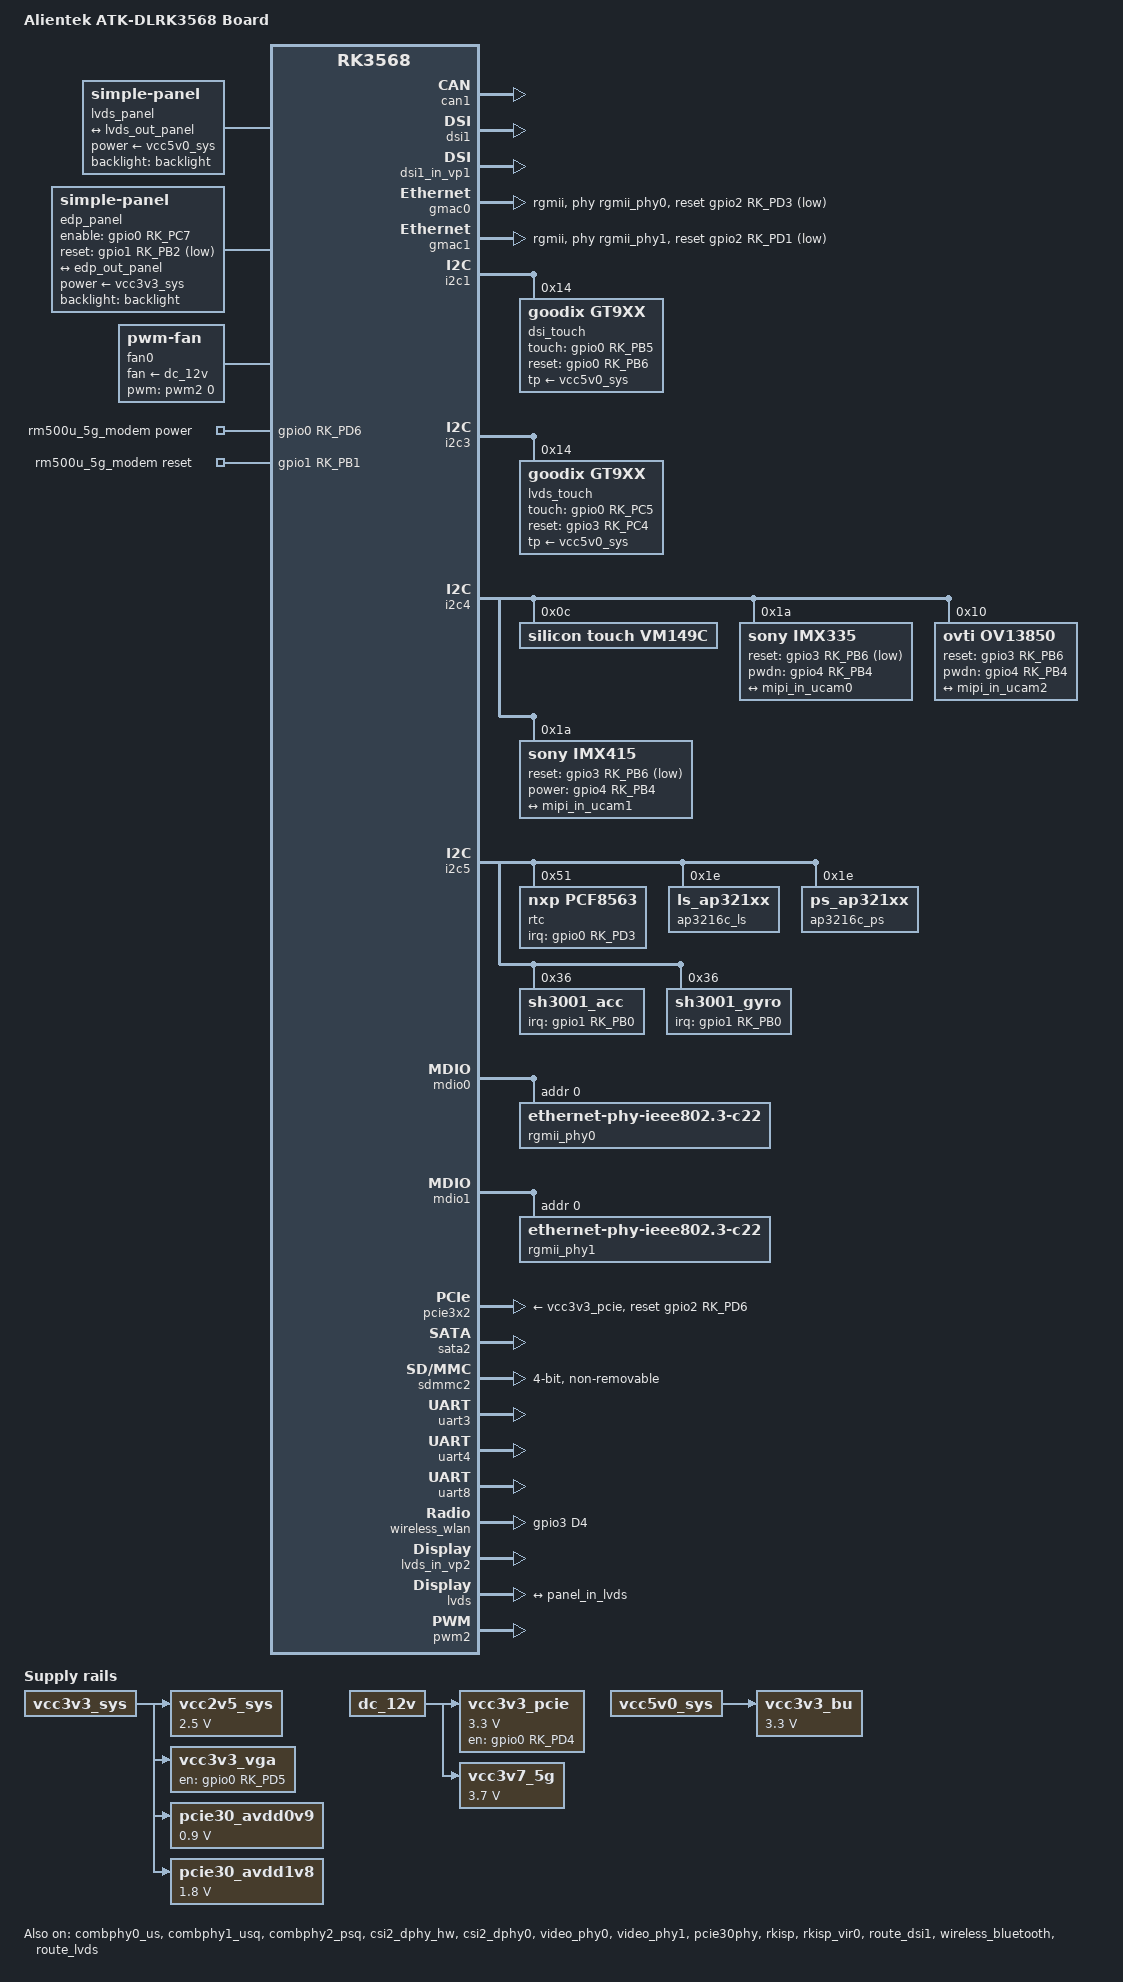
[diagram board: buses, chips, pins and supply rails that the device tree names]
// SPDX-License-Identifier: (GPL-2.0+ OR MIT)
/*
 * Copyright (c) 2020 Rockchip Electronics Co., Ltd.
 *
 */

/dts-v1/;

#include <dt-bindings/gpio/gpio.h>
#include <dt-bindings/pinctrl/rockchip.h>
#include <dt-bindings/display/media-bus-format.h>
#include "rk3568.dtsi"
#include "rk3568-evb.dtsi"

/ {
	model = "Alientek ATK-DLRK3568 Board";
	compatible = "rockchip,rk3568-evb1-ddr4-v10", "rockchip,rk3568";

	vcc2v5_sys: vcc2v5-ddr {
		compatible = "regulator-fixed";
		regulator-name = "vcc2v5-sys";
		regulator-always-on;
		regulator-boot-on;
		regulator-min-microvolt = <2500000>;
		regulator-max-microvolt = <2500000>;
		vin-supply = <&vcc3v3_sys>;
	};

	vcc3v3_vga: vcc3v3-vga {
		compatible = "regulator-fixed";
		regulator-name = "vcc3v3_vga";
		regulator-always-on;
		regulator-boot-on;
		gpio = <&gpio0 RK_PD5 GPIO_ACTIVE_HIGH>;
		enable-active-high;
		vin-supply = <&vcc3v3_sys>;
	};

	pcie30_avdd0v9: pcie30-avdd0v9 {
		compatible = "regulator-fixed";
		regulator-name = "pcie30_avdd0v9";
		regulator-always-on;
		regulator-boot-on;
		regulator-min-microvolt = <900000>;
		regulator-max-microvolt = <900000>;
		vin-supply = <&vcc3v3_sys>;
	};

	pcie30_avdd1v8: pcie30-avdd1v8 {
		compatible = "regulator-fixed";
		regulator-name = "pcie30_avdd1v8";
		regulator-always-on;
		regulator-boot-on;
		regulator-min-microvolt = <1800000>;
		regulator-max-microvolt = <1800000>;
		vin-supply = <&vcc3v3_sys>;
	};

	vcc3v3_pcie: gpio-regulator {
		compatible = "regulator-fixed";
		regulator-name = "vcc3v3_pcie";
		regulator-min-microvolt = <3300000>;
		regulator-max-microvolt = <3300000>;
		enable-active-high;
		gpio = <&gpio0 RK_PD4 GPIO_ACTIVE_HIGH>;
		startup-delay-us = <5000>;
		vin-supply = <&dc_12v>;
	};

	vcc3v3_bu: vcc3v3-bu {
		compatible = "regulator-fixed";
		regulator-name = "vcc3v3_bu";
		regulator-always-on;
		regulator-boot-on;
		regulator-min-microvolt = <3300000>;
		regulator-max-microvolt = <3300000>;
		vin-supply = <&vcc5v0_sys>;
	};

	vcc3v7_5g: vcc3v7-5g {
		compatible = "regulator-fixed";
		regulator-name = "vcc3v7_5g";
		regulator-always-on;
		regulator-boot-on;
		regulator-min-microvolt = <3700000>;
		regulator-max-microvolt = <3700000>;
		vin-supply = <&dc_12v>;
	};

	lvds_panel: lvds-panel {
		compatible = "simple-panel";
		backlight = <&backlight>;
		power-supply = <&vcc5v0_sys>;
		enable-delay-ms = <20>;
		prepare-delay-ms = <20>;
		unprepare-delay-ms = <20>;
		disable-delay-ms = <20>;
		bus-format = <MEDIA_BUS_FMT_RGB888_1X7X4_SPWG>;
		width-mm = <230>;
		height-mm = <150>;

		display-timings {
			native-mode = <&lvds_timing0>;

			lvds_timing0: timing0 {
				clock-frequency = <71100000>; //三屏显示情况下,可将频率设置为65MHz,以保证...
				hactive = <1280>;
				vactive = <800>;
				hback-porch = <80>;
				hfront-porch = <70>;
				vback-porch = <10>;
				vfront-porch = <10>;
				hsync-len = <10>;
				vsync-len = <3>;
				hsync-active = <0>;
				vsync-active = <0>;
				de-active = <0>;
				pixelclk-active = <0>;
			};
		};

		ports {
			#address-cells = <1>;
			#size-cells = <0>;

			port@0 {
				reg = <0>;
				panel_in_lvds: endpoint {
					remote-endpoint = <&lvds_out_panel>;
				};
			};
		};
	};

	edp_panel: edp-panel {
		compatible = "simple-panel";
		backlight = <&backlight>;
		power-supply = <&vcc3v3_sys>;
		enable-gpios = <&gpio0 RK_PC7 GPIO_ACTIVE_HIGH>;
		reset-gpios = <&gpio1 RK_PB2 GPIO_ACTIVE_LOW>;
		//bus-format = <MEDIA_BUS_FMT_RBG888_1X24>;
		pinctrl-names = "default";
		pinctrl-0 = <&edp_rst &edp_pwren>;

		reset-delay-ms = <60>;
		prepare-delay-ms = <60>;
		enable-delay-ms = <60>;
		unprepare-delay-ms = <60>;
		disable-delay-ms = <60>;

		ports {
			#address-cells = <1>;
			#size-cells = <0>;

			port@0 {
				reg = <0>;
				panel_in_edp: endpoint {
					remote-endpoint = <&edp_out_panel>;
				};
			};
		};
	};

	fan0: pwm-fan {
		compatible = "pwm-fan";
		cooling-min-state = <0>;
		cooling-max-state = <22>;
		#cooling-cells = <2>;
		pwms = <&pwm2 0 25000 0>;
		fan-supply = <&dc_12v>;
		cooling-levels = <
			0 50 100 120 150 170 180 200
			205 210 215 220 225 230 235 240
			245 250 251 252 253 254 255
		>;
	};

	rm500u_5g: rm500u-5g {
		compatible = "quectel,rm500u-cn";
		pinctrl-names = "default";
		pinctrl-0 = <&rm500u_5g_gpios>;
		reset-gpios = <&gpio1 RK_PB1 GPIO_ACTIVE_HIGH>;
		power-gpios = <&gpio0 RK_PD6 GPIO_ACTIVE_HIGH>;
		disable-gpios = <&gpio3 RK_PB0 GPIO_ACTIVE_LOW>;
		status = "disabled";
	};

	rm500u_5g_modem: rm500u-modem {
		compatible = "4g-modem-platdata";
		pinctrl-names = "default";
		pinctrl-0 = <&rm500u_5g_gpios>;
		//4G,vbat-gpio = <&gpio4 RK_PD0 GPIO_ACTIVE_HIGH>;//电源控制
		4G,power-gpio = <&gpio0 RK_PD6 GPIO_ACTIVE_HIGH>;//开关机
		4G,reset-gpio = <&gpio1 RK_PB1 GPIO_ACTIVE_HIGH>;//复位
		status = "okay";
	};
};

&combphy0_us {
	status = "okay";
};

&combphy1_usq {
	status = "okay";
};

&combphy2_psq {
	status = "okay";
};

&csi2_dphy_hw {
	status = "okay";
};

&can0 {
	assigned-clocks = <&cru CLK_CAN0>;
	assigned-clock-rates = <150000000>;
	pinctrl-names = "default";
	pinctrl-0 = <&can0m1_pins>;
	status = "disabled";
};

&can1 {
	assigned-clocks = <&cru CLK_CAN1>;
	assigned-clock-rates = <150000000>;
	pinctrl-names = "default";
	pinctrl-0 = <&can1m1_pins>;
	status = "disabled";
};

&can2 {
	assigned-clocks = <&cru CLK_CAN2>;
	assigned-clock-rates = <150000000>;
	pinctrl-names = "default";
	pinctrl-0 = <&can2m1_pins>;
	status = "disabled";
};

&csi2_dphy0 {
	status = "okay";

	ports {
		#address-cells = <1>;
		#size-cells = <0>;
		port@0 {
			reg = <0>;
			#address-cells = <1>;
			#size-cells = <0>;

			mipi_in_ucam0: endpoint@1 {
				reg = <1>;
				remote-endpoint = <&imx335_out>;
				data-lanes = <1 2 3 4>;
			};
			mipi_in_ucam1: endpoint@2 {
				reg = <2>;
				remote-endpoint = <&imx415_out>;
				data-lanes = <1 2 3 4>;
			};
			mipi_in_ucam2: endpoint@3 {
				reg = <3>;
				remote-endpoint = <&ov13850_out>;
				data-lanes = <1 2 3 4>;
			};
		};
		port@1 {
			reg = <1>;
			#address-cells = <1>;
			#size-cells = <0>;

			csidphy_out: endpoint@0 {
				reg = <0>;
				remote-endpoint = <&isp0_in>;
			};
		};
	};
};

/*
 * video_phy0 needs to be enabled
 * when dsi0 is enabled
 */
&dsi0 {
	status = "disabled";
};

&dsi0_in_vp0 {
	status = "disabled";
};

&dsi0_in_vp1 {
	status = "disabled";
};

&dsi0_panel {
	power-supply = <&vcc3v3_lcd0_n>;
};

/*
 * video_phy1 needs to be enabled
 * when dsi1 is enabled
 */
&dsi1 {
	status = "okay";
};

&dsi1_in_vp0 {
	status = "disabled";
};

&dsi1_in_vp1 {
	status = "okay";
};

&disp_timings1 {
	native-mode = <&dsi1_timing0>;

	dsi1_timing0: timing0 {
		/*clock-frequency = <136000000>; //三屏显示情况下,可将频率设置为65MHz,以保证...
		hactive = <1080>;
		vactive = <1920>;
		hfront-porch = <45>;
		hsync-len = <45>;
		hback-porch = <5>;
		vfront-porch = <9>;
		vsync-len = <4>;
		vback-porch = <3>;
		hsync-active = <0>;
		vsync-active = <0>;
		de-active = <0>;
		pixelclk-active = <0>;*/
		clock-frequency = <121000000>;
		hactive = <1080>;
		vactive = <1920>;
		hfront-porch = <22>;
		hsync-len = <20>;
		hback-porch = <22>;
		vfront-porch = <9>;
		vsync-len = <7>;
		vback-porch = <7>;
		hsync-active = <0>;
		vsync-active = <0>;
		de-active = <0>;
		pixelclk-active = <0>;

	};

	dsi1_timing1: timing1 {
		clock-frequency = <65000000>;
		hactive = <720>;
		vactive = <1280>;
		hfront-porch = <48>;
		hsync-len = <8>;
		hback-porch = <52>;
		vfront-porch = <16>;
		vsync-len = <6>;
		vback-porch = <15>;
		hsync-active = <0>;
		vsync-active = <0>;
		de-active = <0>;
		pixelclk-active = <0>;
	};

	dsi1_timing2: timing2 {
		clock-frequency = <67000000>;
		hactive = <800>;
		vactive = <1280>;
		hfront-porch = <12>;
		hsync-len = <24>;
		hback-porch = <24>;
		vfront-porch = <7>;
		vsync-len = <2>;
		vback-porch = <9>;
		hsync-active = <0>;
		vsync-active = <0>;
		de-active = <0>;
		pixelclk-active = <0>;
	};
};

&dsi1_panel {
	power-supply = <&vcc5v0_sys>;
	reset-gpios = <&gpio4 RK_PB5 GPIO_ACTIVE_LOW>;
	pinctrl-names = "default";
	pinctrl-0 = <&mipi_dsi1_rst>;
	reset-delay-ms = <100>;
	init-delay-ms = <80>;

	panel-exit-sequence = [
		05 32 01 28
		05 C8 01 10
	];

	panel-init-sequence = [
		39 00 04 B9 FF 83 99
		15 00 02 D2 77
		//15 00 02 CC 04(倒向显示)
		//15 00 02 CC 08(正向显示)
		15 00 02 CC 04
		39 00 10 B1 02 04 74 94 01 32 33 11 11 AB 4D 56 73 02 02
		39 00 10 B2 00 80 80 AE 05 07 5A 11 00 00 10 1E 70 03 D4
		39 00 2D B4 00 FF 02 C0 02 C0 00 00 08 00 04 06 00 32 04 0A 08 21 03 01 00 0F B8 8B 02 C0 02 C0 00 00 08 00 04 06 00 32 04 0A 08 01 00 0F B8 01
		39 05 22 D3 00 00 00 00 00 00 06 00 00 10 04 00 04 00 00 00 00 00 00 00 00 00 00 01 00 05 05 07 00 00 00 05 40
		39 05 21 D5 18 18 19 19 18 18 21 20 01 00 07 06 05 04 03 02 18 18 18 18 18 18 2F 2F 30 30 31 31 18 18 18 18
		39 05 21 D6 18 18 19 19 40 40 20 21 02 03 04 05 06 07 00 01 40 40 40 40 40 40 2F 2F 30 30 31 31 40 40 40 40
		39 00 11 D8 A2 AA 02 A0 A2 A8 02 A0 B0 00 00 00 B0 00 00 00
		15 00 02 BD 01
		39 00 11 D8 B0 00 00 00 B0 00 00 00 E2 AA 03 F0 E2 AA 03 F0
		15 00 02 BD 02
		39 00 09 D8 E2 AA 03 F0 E2 AA 03 F0
		15 00 02 BD 00
		39 00 03 B6 8D 8D
		39 05 37 E0 00 0E 19 13 2E 39 48 44 4D 57 5F 66 6C 76 7F 85 8A 95 9A A4 9B AB B0 5C 58 64 77 00 0E 19 13 2E 39 48 44 4D 57 5F 66 6C 76 7F 85 8A 95 9A A4 9B AB B0 5C 58 64 77
		05 c8 01 11
		05 ff 01 29
	];

	/*
	panel-init-sequence = [
		39 00 04 B9 FF 83 94
		39 00 07 BA 63 03 68 6B B2 C0
		//15 00 02 36 01(倒向显示)
		//15 00 02 36 02(正向显示)
		15 00 02 36 01
		39 00 0B B1 48 12 72 09 32 54 71 71 57 47
		39 00 07 B2 00 80 64 0C 0D 2F
		39 00 16 B4 73 74 73 74 73 74 01 0C 86 75 00 3F 73 74 73 74 73 74 01 0C 86
		39 00 03 B6 6E 6E
		39 00 22 D3 00 00 07 07 40 07 0C 00 08 10 08 00 08 54 15 0A 05 0A 02 15 06 05 06 47 44 0A 0A 4B 10 07 07 0C 40
		39 00 2D D5 1C 1C 1D 1D 00 01 02 03 04 05 06 07 08 09 0A 0B 24 25 18 18 26 27 18 18 18 18 18 18 18 18 18 18 18 18 18 18 18 18 20 21 18 18 18 18
		39 00 2D D6 1C 1C 1D 1D 07 06 05 04 03 02 01 00 0B 0A 09 08 21 20 18 18 27 26 18 18 18 18 18 18 18 18 18 18 18 18 18 18 18 18 25 24 18 18 18 18
		39 00 3B E0 00 0A 15 1B 1E 21 24 22 47 56 65 66 6E 82 88 8B 9A 9D 98 A8 B9 5D 5C 61 66 6A 6F 7F 7F 00 0A 15 1B 1E 21 24 22 47 56 65 65 6E 81 87 8B 98 9D 99 A8 BA 5D 5D 62 67 6B 72 7F 7F
		39 00 03 C0 1F 31
		15 00 02 CC 03
		15 00 02 D4 02
		15 00 02 BD 02
		39 00 0D D8 FF FF FF FF FF FF FF FF FF FF FF FF
		15 00 02 BD 00
		15 00 02 BD 01
		15 00 02 B1 00
		15 00 02 BD 00
		39 00 08 BF 40 81 50 00 1A FC 01
		15 00 02 C6 ED
		05 64 01 11
		05 78 01 29
	];
	*/
};

&edp {
	//hpd-gpios = <&gpio0 RK_PC2 GPIO_ACTIVE_HIGH>; //使用eDP屏需将hpd-gpios注释掉!
	status = "disabled";

	force-hpd;
	//pinctrl-names = "default";
	//pinctrl-0 = <&edpdpm1_pins>;

	ports {
		edp_out: port@1 {
			reg = <1>;
			edp_out_panel: endpoint {
				remote-endpoint = <&panel_in_edp>;
			};
		};
	};
};

&edp_phy {
	status = "disabled";
};

&route_edp {
	connect = <&vp0_out_edp>;
	status = "disabled";
};

&edp_in_vp0 {
	status = "disabled";
};

&edp_in_vp1 {
	status = "disabled";
};

&gmac0 {
	phy-mode = "rgmii";
	clock_in_out = "output";

	snps,reset-gpio = <&gpio2 RK_PD3 GPIO_ACTIVE_LOW>;
	snps,reset-active-low;
	/* Reset time is 20ms, 100ms for rtl8211f */
	snps,reset-delays-us = <0 20000 100000>;

	assigned-clocks = <&cru SCLK_GMAC0_RX_TX>, <&cru SCLK_GMAC0>;
	assigned-clock-parents = <&cru SCLK_GMAC0_RGMII_SPEED>, <&cru CLK_MAC0_2TOP>;
	assigned-clock-rates = <0>, <125000000>;

	pinctrl-names = "default";
	pinctrl-0 = <&gmac0_miim
		     &gmac0_tx_bus2
		     &gmac0_rx_bus2
		     &gmac0_rgmii_clk
		     &gmac0_rgmii_bus>;

	tx_delay = <0x24>;
	rx_delay = <0x33>;

	phy-handle = <&rgmii_phy0>;
	status = "okay";
};

&gmac1 {
	phy-mode = "rgmii";
	clock_in_out = "output";

	snps,reset-gpio = <&gpio2 RK_PD1 GPIO_ACTIVE_LOW>;
	snps,reset-active-low;
	/* Reset time is 20ms, 100ms for rtl8211f */
	snps,reset-delays-us = <0 20000 100000>;

	assigned-clocks = <&cru SCLK_GMAC1_RX_TX>, <&cru SCLK_GMAC1>;
	assigned-clock-parents = <&cru SCLK_GMAC1_RGMII_SPEED>, <&cru CLK_MAC1_2TOP>;
	assigned-clock-rates = <0>, <125000000>;

	pinctrl-names = "default";
	pinctrl-0 = <&gmac1m1_miim
		     &gmac1m1_tx_bus2
		     &gmac1m1_rx_bus2
		     &gmac1m1_rgmii_clk
		     &gmac1m1_rgmii_bus>;

	tx_delay = <0x25>;
	rx_delay = <0x29>;

	phy-handle = <&rgmii_phy1>;
	status = "okay";
};

&gt1x {
	status = "disabled";
};

&i2c1 {
	dsi_touch: gt911@14 {
		compatible = "goodix,gt9xx";
		reg = <0x14>;
		pinctrl-names = "default";
		pinctrl-0 = <&touch_gpio>;
		touch-gpio = <&gpio0 RK_PB5 IRQ_TYPE_LEVEL_LOW>;
		reset-gpio = <&gpio0 RK_PB6 GPIO_ACTIVE_HIGH>;
		max-x = <1080>;
		max-y = <1920>;
		tp-size = <911>;
		tp-supply = <&vcc5v0_sys>;
		wakeup-source;
		goodix-ts-name = "dsi1_ts_gt9xx";
		status = "okay";
	};
};

&i2c3 {
	status = "okay";

	lvds_touch: gt911@14 {
		compatible = "goodix,gt9xx";
		reg = <0x14>;
		pinctrl-names = "default";
		pinctrl-0 = <&lvds_touch_gpio>;
		touch-gpio = <&gpio0 RK_PC5 IRQ_TYPE_LEVEL_LOW>;
		reset-gpio = <&gpio3 RK_PC4 GPIO_ACTIVE_HIGH>;
		max-x = <1280>;
		max-y = <800>;
		tp-size = <911>;
		tp-supply = <&vcc5v0_sys>;
		wakeup-source;
		goodix-ts-name = "lvds_ts_gt9xx";
		status = "okay";
	};
};

&i2c4 {
	status = "okay";

	vm149c: vm149c@c { //vcm驱动配置,支持AF时需要有这个设置
		compatible = "silicon touch,vm149c";
		status = "okay";
		reg = <0x0c>;

		rockchip,vcm-start-current = <0>;		//马达的启动电流
		rockchip,vcm-rated-current = <100>;		//马达的额定电流
		rockchip,vcm-step-mode = <4>;			//马达驱动ic的电流输出模式
		rockchip,camera-module-index = <0>;		//模组编号
		rockchip,camera-module-facing = "back";	//模组朝向
	};

/*
	ov5695: ov5695@36 {
		status = "disabled";
		compatible = "ovti,ov5695";
		reg = <0x36>;
		clocks = <&cru CLK_CIF_OUT>;
		clock-names = "xvclk";
		power-domains = <&power RK3568_PD_VI>;
		pinctrl-names = "default";
		pinctrl-0 = <&cif_clk>;
		reset-gpios = <&gpio3 RK_PB6 GPIO_ACTIVE_HIGH>;
		pwdn-gpios = <&gpio4 RK_PB4 GPIO_ACTIVE_HIGH>;
		rockchip,camera-module-index = <0>;
		rockchip,camera-module-facing = "back";
		rockchip,camera-module-name = "TongJu";
		rockchip,camera-module-lens-name = "CHT842-MD";
		port {
			ov5695_out: endpoint {
				remote-endpoint = <&mipi_in_ucam2>;
				data-lanes = <1 2>;
			};
		};
	};
*/

	imx335: imx335@1a {
		status = "okay";
		compatible = "sony,imx335";
		reg = <0x1a>;
		clocks = <&cru CLK_CIF_OUT>;
		clock-names = "xvclk";
		power-domains = <&power RK3568_PD_VI>;
		pinctrl-names = "rockchip,camera_default";
		pinctrl-0 = <&cif_clk>;
		reset-gpios = <&gpio3 RK_PB6 GPIO_ACTIVE_LOW>;
		pwdn-gpios = <&gpio4 RK_PB4 GPIO_ACTIVE_HIGH>;
		rockchip,camera-module-index = <0>;
		rockchip,camera-module-facing = "back";
		rockchip,camera-module-name = "MTV4-IR-E-P";
		rockchip,camera-module-lens-name = "40IRC-4MP-F16";
		port {
			imx335_out: endpoint {
				remote-endpoint = <&mipi_in_ucam0>;
				data-lanes = <1 2 3 4>;
			};
		};
	};

	ov13850: ov13850@10 {
		compatible = "ovti,ov13850";
		status = "okay";
		reg = <0x10>;
		clocks = <&cru CLK_CIF_OUT>;
		clock-names = "xvclk";
		power-domains = <&power RK3568_PD_VI>;

		/* conflict with csi-ctl-gpios */
		reset-gpios = <&gpio3 RK_PB6 GPIO_ACTIVE_HIGH>;
		pwdn-gpios = <&gpio4 RK_PB4 GPIO_ACTIVE_HIGH>;
		pinctrl-names = "rockchip,camera_default";
		pinctrl-0 = <&cif_clk>;
		lens-focus = <&vm149c>; //vcm驱动设置,支持AF时需要有这个设置
		rockchip,camera-module-index = <0>;
		rockchip,camera-module-facing = "back";
		rockchip,camera-module-name = "ZC-OV13850R2A-V1";
		rockchip,camera-module-lens-name = "Largan-50064B31";

		port {
			ov13850_out: endpoint {
				remote-endpoint = <&mipi_in_ucam2>;
				data-lanes = <1 2 3 4>;
			};
		};
	};

	imx415: imx415@1a {
		status = "okay";
		compatible = "sony,imx415";
		reg = <0x1a>;
		clocks = <&cru CLK_CIF_OUT>;
		clock-names = "xvclk";
		power-domains = <&power RK3568_PD_VI>;
		pinctrl-names = "rockchip,camera_default";
		pinctrl-0 = <&cif_clk>;
		reset-gpios = <&gpio3 RK_PB6 GPIO_ACTIVE_LOW>;
		power-gpios = <&gpio4 RK_PB4 GPIO_ACTIVE_HIGH>;
		rockchip,camera-module-index = <0>;
		rockchip,camera-module-facing = "back";
		rockchip,camera-module-name = "CMK-OT1522-FG3";
		rockchip,camera-module-lens-name = "CS-P1150-IRC-8M-FAU";
		port {
			imx415_out: endpoint {
				remote-endpoint = <&mipi_in_ucam1>;
				data-lanes = <1 2 3 4>;
			};
		};
	};
};

&i2c5 {
	rtc@51 {
		compatible = "nxp,pcf8563";
		reg = <0x51>;
		interrupt-parent = <&gpio0>;
		interrupts = <RK_PD3 IRQ_TYPE_LEVEL_LOW>;
		#clock-cells = <0>;
	};

	ap3216c_ls@1e {
		compatible = "ls_ap321xx";
		reg = <0x1e>;
		type = <SENSOR_TYPE_LIGHT>;
		//irq-gpio = <&gpio4 RK_PD2 IRQ_TYPE_EDGE_FALLING>;
		irq_enable = <0>;
		poll_delay_ms = <20>;
		layout = <1>;
		status = "okay";
	};

	ap3216c_ps@1e {
		compatible = "ps_ap321xx";
		reg = <0x1e>;
		type = <SENSOR_TYPE_PROXIMITY>;
		//irq-gpio = <&gpio4 RK_PD2 IRQ_TYPE_EDGE_FALLING>;
		irq_enable = <0>;
		poll_delay_ms = <20>;
		layout = <1>;
		status = "okay";
	};

	sh3001_acc@36 {
		compatible = "sh3001_acc";
		reg = <0x36>;
		type = <SENSOR_TYPE_ACCEL>;
		pinctrl-names = "default";
		pinctrl-0 = <&sh3001_irq_gpio>;
		irq-gpio = <&gpio1 RK_PB0 IRQ_TYPE_LEVEL_HIGH>;
		irq_enable = <0>;
		poll_delay_ms = <30>;
		layout = <3>;
		status = "okay";
	};

	sh3001_gyro@36 {
		compatible = "sh3001_gyro";
		reg = <0x36>;
		type = <SENSOR_TYPE_GYROSCOPE>;
		//pinctrl-names = "default";
		//pinctrl-0 = <&sh3001_irq_gpio>;
		irq-gpio = <&gpio1 RK_PB0 IRQ_TYPE_LEVEL_HIGH>;
		irq_enable = <0>;       //Must be set to 0, disable interrupt
		poll_delay_ms = <30>;
		layout = <1>;
		status = "okay";
	};
};

&mdio0 {
	rgmii_phy0: phy@0 {
		compatible = "ethernet-phy-ieee802.3-c22";
		reg = <0x0>;
	};
};

&mdio1 {
	rgmii_phy1: phy@0 {
		compatible = "ethernet-phy-ieee802.3-c22";
		reg = <0x0>;
	};
};

&video_phy0 {
	status = "okay";
};

&video_phy1 {
	status = "okay";
};

&pcie30phy {
	status = "okay";
};

&pcie3x2 {
	//pinctrl-names = "default";
	//pinctrl-0 = <&pcie30x2m1_pins>;
	reset-gpios = <&gpio2 RK_PD6 GPIO_ACTIVE_HIGH>;
	vpcie3v3-supply = <&vcc3v3_pcie>;
	status = "okay";
};

&pinctrl {
	cam {
		/*
		camera_gpios: camera-gpios {
			rockchip,pins =
				<3 RK_PB6 RK_FUNC_GPIO &pcfg_pull_none>,
				<4 RK_PB4 RK_FUNC_GPIO &pcfg_pull_none>;
		};
		*/
	};
	headphone {
		hp_det: hp-det {
			rockchip,pins = <1 RK_PA4 RK_FUNC_GPIO &pcfg_pull_up>;
		};
	};

	wireless-wlan {
		wifi_host_wake_irq: wifi-host-wake-irq {
			rockchip,pins = <3 RK_PD4 RK_FUNC_GPIO &pcfg_pull_down>;
		};
	};

	wireless-bluetooth {
		uart8_gpios: uart8-gpios {
			rockchip,pins = <2 RK_PB1 RK_FUNC_GPIO &pcfg_pull_none>;
		};
	};

	lcd {
		mipi_dsi1_rst: mipi-dsi1-rst {
			rockchip,pins = <4 RK_PB5 RK_FUNC_GPIO &pcfg_pull_up>;
		};

		edp_rst: edp-rst-gpio {
			rockchip,pins = <1 RK_PB2 RK_FUNC_GPIO &pcfg_pull_up>;
		};

		edp_pwren: edp-pwren-gpio {
			rockchip,pins = <0 RK_PC7 RK_FUNC_GPIO &pcfg_pull_down>;
		};
	};

	sh3001 {
		sh3001_irq_gpio: sh3001-irq-gpio {
			rockchip,pins = <1 RK_PB0 RK_FUNC_GPIO &pcfg_pull_none>;
		};
	};

	touch {
		lvds_touch_gpio: lvds-touch-gpio {
			rockchip,pins =
				<0 RK_PC5 RK_FUNC_GPIO &pcfg_pull_up>,
				<3 RK_PC4 RK_FUNC_GPIO &pcfg_pull_none>;
		};
	};

	wwan-5g {
		rm500u_5g_gpios: rm500u-5g-gpios {
			rockchip,pins =
				<1 RK_PB1 RK_FUNC_GPIO &pcfg_pull_down>,
				<3 RK_PB0 RK_FUNC_GPIO &pcfg_pull_up>,
				<0 RK_PD6 RK_FUNC_GPIO &pcfg_pull_down>;
		};
	};
};

&rkisp {
	status = "okay";
};

&rkisp_mmu {
	status = "okay";
};

&rkisp_vir0 {
	status = "okay";

	port {
		#address-cells = <1>;
		#size-cells = <0>;

		isp0_in: endpoint@0 {
			reg = <0>;
			remote-endpoint = <&csidphy_out>;
		};
	};
};

&route_dsi0 {
	status = "disabled";
	connect = <&vp1_out_dsi0>;
};

&route_dsi1 {
	status = "okay";
	connect = <&vp1_out_dsi1>;
};

&sata2 {
	status = "okay";
	pinctrl-names = "default";
	pinctrl-0 = <&sata2_pins>;
};

&sdmmc2 {
	max-frequency = <150000000>;
	no-sd;
	no-mmc;
	bus-width = <4>;
	disable-wp;
	cap-sd-highspeed;
	cap-sdio-irq;
	keep-power-in-suspend;
	mmc-pwrseq = <&sdio_pwrseq>;
	non-removable;
	pinctrl-names = "default";
	pinctrl-0 = <&sdmmc2m0_bus4 &sdmmc2m0_cmd &sdmmc2m0_clk>;
	sd-uhs-sdr104;
	status = "okay";
};

&spdif_8ch {
	status = "disabled";
	pinctrl-names = "default";
	pinctrl-0 = <&spdifm1_tx>;
};

&uart3 {
	pinctrl-names = "default";
	pinctrl-0 = <&uart3m1_xfer>;
	status = "okay";
};

&uart4 {
	pinctrl-names = "default";
	pinctrl-0 = <&uart4m1_xfer>;
	status = "okay";
};

&uart8 {
	status = "okay";
	pinctrl-names = "default";
	pinctrl-0 = <&uart8m0_xfer &uart8m0_ctsn>;
};

&vcc3v3_lcd0_n {
	gpio = <&gpio0 RK_PC7 GPIO_ACTIVE_HIGH>;
	enable-active-high;
	status = "disabled";
};

&vcc3v3_lcd1_n {
	gpio = <&gpio0 RK_PC5 GPIO_ACTIVE_HIGH>;
	enable-active-high;
	status = "disabled";
};

&wireless_wlan {
	pinctrl-names = "default";
	pinctrl-0 = <&wifi_host_wake_irq>;
	WIFI,host_wake_irq = <&gpio3 RK_PD4 GPIO_ACTIVE_HIGH>;
	wifi_chip_type = "rtl8852bs";
	//keep_wifi_power_on;
	//clocks = <&rk809 1>;
	//clock-names = "clk_wifi";
};

&wireless_bluetooth {
	compatible = "bluetooth-platdata";
	clocks = <&rk809 1>;
	clock-names = "ext_clock";
	//wifi-bt-power-toggle;
	uart_rts_gpios = <&gpio2 RK_PB1 GPIO_ACTIVE_LOW>;
	pinctrl-names = "default", "rts_gpio";
	pinctrl-0 = <&uart8m0_rtsn>;
	pinctrl-1 = <&uart8_gpios>;
	BT,reset_gpio    = <&gpio3 RK_PA0 GPIO_ACTIVE_HIGH>;
	//BT,power_gpio    = <&gpio3 RK_PA0 GPIO_ACTIVE_HIGH>;
	BT,wake_gpio     = <&gpio3 RK_PA2 GPIO_ACTIVE_HIGH>;
	BT,wake_host_irq = <&gpio0 RK_PB7 GPIO_ACTIVE_HIGH>;
	status = "okay";
};

&pmu_io_domains {
	vccio4-supply = <&vcc_1v8>;
	vccio6-supply = <&vcc_1v8>;
};

&adc_keys {
	vol-up-key {
		label = "volume up";
		linux,code = <KEY_VOLUMEUP>;
		press-threshold-microvolt = <17822>;
	};

	vol-down-key {
		label = "volume down";
		linux,code = <KEY_VOLUMEDOWN>;
		press-threshold-microvolt = <415385>;
	};

	menu-key {
		label = "menu";
		linux,code = <KEY_MENU>;
		press-threshold-microvolt = <805525>;
	};

	esc-key {
		label = "esc";
		linux,code = <KEY_ESC>;
		press-threshold-microvolt = <1201993>;
	};

	/delete-node/ back-key;
};

&u2phy0_host {
	phy-supply = <&vcc5v0_usb>;
};

&u2phy1_host {
	phy-supply = <&vcc5v0_usb>;
};

&u2phy1_otg {
	phy-supply = <&vcc5v0_usb>;
};

&can1 {
	status = "okay";
};

&mxc6655xa {
	status = "disabled";
};

&spdif_sound {
	status = "disabled";
};

&spdif_out {
	status = "disabled";
};

&lvds_in_vp1 {
	status = "disabled";
};

&lvds_in_vp2 {
	status = "okay";
};

&route_lvds {
	status = "okay";
	connect = <&vp2_out_lvds>;
};

&lvds {
	status = "okay";

	ports {
		#address-cells = <1>;
		#size-cells = <0>;

		port@1 {
			reg = <1>;
			lvds_out_panel: endpoint {
				remote-endpoint = <&panel_in_lvds>;
			};
		};
	};
};

&pwm2 {
	status = "okay";
};

&pwm7 {
	/delete-node/ ir_key2;
	/delete-node/ ir_key3;

	ir_key1 {
		/* 正点原子红外遥控器按键定义: 一共20个按键 */
		rockchip,usercode = <0xFF00>;
		rockchip,key_table =
			<0xba KEY_POWER>,
			<0xb9 KEY_UP>,
			<0xb8 KEY_HOME>,
			<0xbb KEY_REWIND>,
			<0xbf KEY_PLAYPAUSE>,
			<0xbc KEY_FASTFORWARD>,
			<0xf8 KEY_VOLUMEDOWN>,
			<0xea KEY_DOWN>,
			<0xf6 KEY_VOLUMEUP>,
			<0xe9 KEY_1>,
			<0xe6 KEY_2>,
			<0xf2 KEY_3>,
			<0xf3 KEY_4>,
			<0xe7 KEY_5>,
			<0xa1 KEY_6>,
			<0xf7 KEY_7>,
			<0xe3 KEY_8>,
			<0xa5 KEY_9>,
			<0xbd KEY_0>,
			<0xb5 KEY_BACKSPACE>;
	};
};

&soc_thermal {
	trips {
		fan_ctrl_threshold: trip-point-2 {
			temperature = <35000>; //超过64度将启动风扇进行冷却
			hysteresis = <2000>;
			type = "active";
		};
	};
	cooling-maps {
		map2 {
			trip = <&fan_ctrl_threshold>;
			cooling-device = <&fan0 THERMAL_NO_LIMIT THERMAL_NO_LIMIT>;
		};
	};
};

&dmc {
	system-status-level = <
		/*system status         freq level*/
		SYS_STATUS_NORMAL       DMC_FREQ_LEVEL_HIGH
		SYS_STATUS_REBOOT       DMC_FREQ_LEVEL_HIGH
		SYS_STATUS_SUSPEND      DMC_FREQ_LEVEL_LOW
		SYS_STATUS_VIDEO_4K     DMC_FREQ_LEVEL_HIGH
		SYS_STATUS_VIDEO_4K_10B DMC_FREQ_LEVEL_HIGH
		SYS_STATUS_BOOST        DMC_FREQ_LEVEL_HIGH
		SYS_STATUS_ISP          DMC_FREQ_LEVEL_HIGH
		SYS_STATUS_PERFORMANCE  DMC_FREQ_LEVEL_HIGH
		SYS_STATUS_DUALVIEW     DMC_FREQ_LEVEL_HIGH
	>;
	auto-min-freq = <1560000>;
};

&rk809_sound {
	hp-det-gpio = <&gpio1 RK_PA4 GPIO_ACTIVE_LOW>;
};
